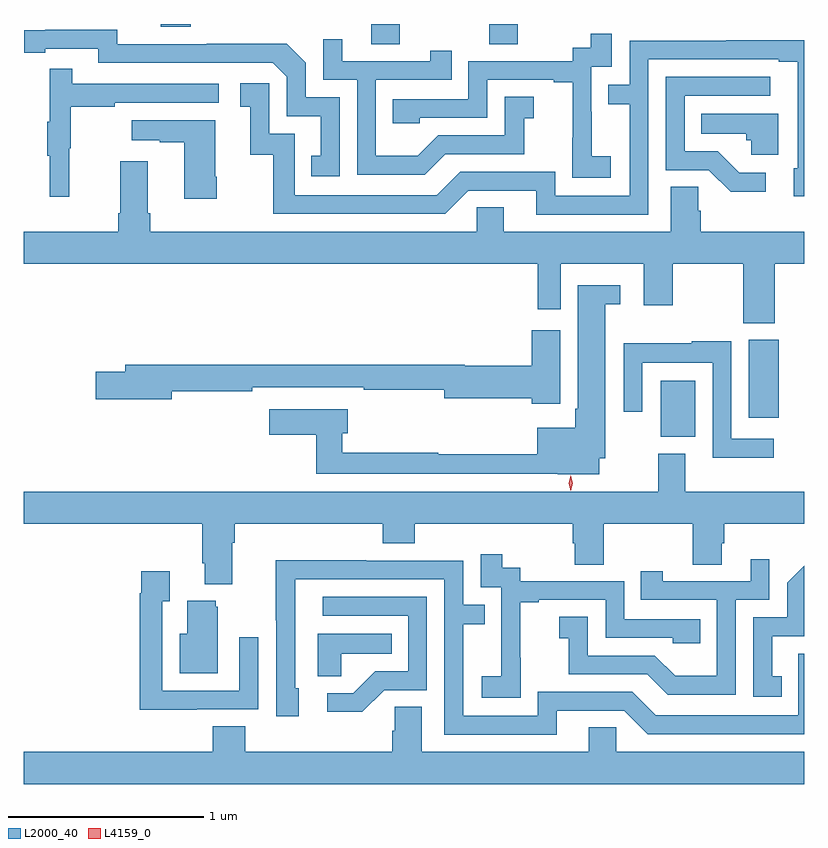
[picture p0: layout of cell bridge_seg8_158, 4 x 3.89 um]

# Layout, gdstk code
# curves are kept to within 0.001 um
import gdstk
lib = gdstk.Library(unit=1e-6, precision=1e-09)
def R(c, l, rs):  # rectangles x0, y0, x1, y1
    for r in rs: c.add(gdstk.rectangle(r[:2], r[2:], *l))
def P(c, l, *ps):  # polygons
    for p in ps: c.add(gdstk.Polygon(p, *l))
L2000_40 = (2000, 40)
L4159_0 = (4159, 0)

bridge_seg8_158 = lib.new_cell('bridge_seg8_158')
R(bridge_seg8_158, L2000_40, [(555.842,1130.267,556.018,1130.554), (556.292,1130.364,556.445,1130.763), (554.357,1132.276,554.505,1132.381), (554.962,1132.276,555.109,1132.381), (553.28,1132.367,553.433,1132.381)])
P(bridge_seg8_158, L2000_40, [(554.196,1132.005),(554.022,1132.005),(554.022,1132.182),(553.924,1132.28),(553.516,1132.28),(553.516,1132.278),(553.056,1132.278),(553.056,1132.351),(552.58,1132.35),(552.58,1132.234),(552.688,1132.234),(552.688,1132.254),(552.96,1132.254),(552.96,1132.182),(553.854,1132.182),(553.926,1132.11),(553.926,1131.909),(554.099,1131.909),(554.099,1131.705),(554.05,1131.705),(554.05,1131.6),(554.196,1131.6)],
  [(555.586,1131.703),(555.488,1131.703),(555.488,1131.932),(555.486,1131.932),(555.486,1132.161),(555.591,1132.161),(555.591,1132.33),(555.483,1132.33),(555.483,1132.26),(555.39,1132.26),(555.39,1132.191),(554.856,1132.191),(554.856,1131.996),(554.467,1131.996),(554.467,1131.873),(554.607,1131.873),(554.607,1131.9),(554.952,1131.9),(554.952,1132.095),(555.293,1132.095),(555.293,1132.083),(555.389,1132.083),(555.389,1131.799),(555.388,1131.799),(555.388,1131.593),(555.586,1131.593)],
  [(554.737,1131.714),(555.141,1131.714),(555.141,1131.899),(555.19,1131.899),(555.19,1132.009),(555.042,1132.009),(555.042,1131.81),(554.7,1131.81),(554.596,1131.706),(554.382,1131.706),(554.382,1132.095),(554.771,1132.095),(554.771,1132.243),(554.66,1132.243),(554.66,1132.191),(554.209,1132.191),(554.209,1132.303),(554.112,1132.303),(554.112,1132.095),(554.286,1132.095),(554.286,1131.609),(554.632,1131.609)],
  [(555.777,1132.2),(556.445,1132.2),(556.445,1132.188),(556.542,1132.188),(556.542,1131.642),(556.523,1131.642),(556.523,1131.498),(556.577,1131.498),(556.577,1132.298),(556.177,1132.298),(556.177,1132.296),(555.681,1132.296),(555.681,1132.071),(555.571,1132.071),(555.571,1131.97),(555.681,1131.97),(555.681,1131.501),(555.3,1131.501),(555.3,1131.624),(554.814,1131.624),(554.694,1131.504),(553.965,1131.504),(553.965,1131.819),(553.836,1131.819),(553.836,1132.078),(553.686,1132.078),(553.686,1131.957),(553.739,1131.957),(553.739,1131.711),(553.857,1131.711),(553.857,1131.408),(554.736,1131.408),(554.856,1131.528),(555.203,1131.528),(555.203,1131.405),(555.777,1131.405)],
  [(552.812,1131.744),(552.82,1131.744),(552.82,1131.958),(553.043,1131.958),(553.043,1131.978),(553.576,1131.978),(553.576,1132.074),(552.827,1132.074),(552.827,1132.153),(552.71,1132.153),(552.71,1131.881),(552.699,1131.881),(552.699,1131.707),(552.71,1131.707),(552.71,1131.495),(552.812,1131.495)],
  [(556.378,1131.618),(556.243,1131.618),(556.132,1131.729),(555.963,1131.729),(555.963,1132.014),(556.402,1132.014),(556.402,1132.11),(555.867,1132.11),(555.867,1131.633),(556.086,1131.633),(556.199,1131.521),(556.378,1131.521)],
  [(556.444,1131.922),(556.048,1131.922),(556.048,1131.818),(556.279,1131.818),(556.279,1131.786),(556.305,1131.786),(556.305,1131.71),(556.444,1131.71)],
  [(553.566,1131.598),(553.558,1131.598),(553.558,1131.889),(553.131,1131.889),(553.131,1131.785),(553.274,1131.785),(553.274,1131.775),(553.4,1131.775),(553.4,1131.486),(553.566,1131.486)],
  [(556.424,1131.152),(556.577,1131.152),(556.577,1131.316),(556.046,1131.316),(556.046,1131.425),(556.032,1131.425),(556.032,1131.548),(555.893,1131.548),(555.893,1131.316),(555.037,1131.316),(555.037,1131.443),(554.898,1131.443),(554.898,1131.316),(553.226,1131.316),(553.226,1131.412),(553.213,1131.412),(553.213,1131.679),(553.073,1131.679),(553.073,1131.412),(553.061,1131.412),(553.061,1131.316),(552.577,1131.316),(552.577,1131.152),(555.21,1131.152),(555.21,1130.919),(555.328,1130.919),(555.328,1131.152),(555.755,1131.152),(555.755,1130.94),(555.903,1130.94),(555.903,1131.152),(556.264,1131.152),(556.264,1130.848),(556.424,1130.848)],
  [(555.526,1130.156),(555.556,1130.156),(555.556,1130.945),(555.634,1130.945),(555.634,1131.042),(555.416,1131.042),(555.416,1130.41),(555.404,1130.41),(555.404,1130.314),(555.209,1130.314),(555.209,1130.177),(554.702,1130.177),(554.702,1130.185),(554.209,1130.185),(554.209,1130.285),(554.237,1130.285),(554.237,1130.407),(553.836,1130.407),(553.836,1130.278),(554.077,1130.278),(554.077,1130.076),(555.313,1130.076),(555.313,1130.075),(555.526,1130.075)],
  [(555.325,1130.812),(555.179,1130.812),(555.179,1130.63),(554.836,1130.63),(554.836,1130.636),(553.097,1130.636),(553.097,1130.6),(552.948,1130.6),(552.948,1130.458),(553.336,1130.458),(553.336,1130.5),(553.748,1130.5),(553.748,1130.52),(554.32,1130.52),(554.32,1130.508),(554.732,1130.508),(554.732,1130.465),(555.179,1130.465),(555.179,1130.435),(555.325,1130.435)],
  [(556.42,1130.256),(556.203,1130.256),(556.203,1130.756),(556,1130.756),(556,1130.746),(555.651,1130.746),(555.651,1130.394),(555.747,1130.394),(555.747,1130.645),(556.107,1130.645),(556.107,1130.159),(556.42,1130.159)],
  [(552.577,1129.82),(553.493,1129.82),(553.493,1129.618),(553.505,1129.618),(553.505,1129.511),(553.645,1129.511),(553.645,1129.724),(553.658,1129.724),(553.658,1129.82),(554.417,1129.82),(554.417,1129.721),(554.582,1129.721),(554.582,1129.82),(555.389,1129.82),(555.389,1129.722),(555.401,1129.722),(555.401,1129.612),(555.549,1129.612),(555.549,1129.82),(556.006,1129.82),(556.006,1129.612),(556.153,1129.612),(556.153,1129.722),(556.166,1129.722),(556.166,1129.82),(556.577,1129.82),(556.577,1129.984),(555.967,1129.984),(555.967,1130.179),(555.827,1130.179),(555.827,1129.984),(552.577,1129.984)],
  [(555.123,1129.135),(555.122,1129.135),(555.122,1129.419),(555.217,1129.419),(555.217,1129.431),(555.558,1129.431),(555.558,1129.236),(555.903,1129.236),(555.903,1129.209),(556.043,1129.209),(556.043,1129.332),(555.654,1129.332),(555.654,1129.527),(555.12,1129.527),(555.12,1129.596),(555.028,1129.596),(555.028,1129.666),(554.919,1129.666),(554.919,1129.497),(555.024,1129.497),(555.024,1129.268),(555.023,1129.268),(555.023,1129.039),(554.925,1129.039),(554.925,1128.929),(555.123,1128.929)],
  [(556.224,1129.431),(556.398,1129.431),(556.398,1129.639),(556.301,1129.639),(556.301,1129.527),(555.85,1129.527),(555.85,1129.579),(555.739,1129.579),(555.739,1129.431),(556.128,1129.431),(556.128,1129.042),(555.914,1129.042),(555.81,1129.146),(555.468,1129.146),(555.468,1129.345),(555.321,1129.345),(555.321,1129.235),(555.37,1129.235),(555.37,1129.05),(555.773,1129.05),(555.878,1128.945),(556.224,1128.945)],
  [(555.307,1128.864),(555.654,1128.864),(555.774,1128.744),(556.577,1128.744),(556.577,1129.155),(556.545,1129.155),(556.545,1128.84),(555.816,1128.84),(555.696,1128.96),(555.21,1128.96),(555.21,1128.837),(554.829,1128.837),(554.829,1129.306),(554.939,1129.306),(554.939,1129.407),(554.829,1129.407),(554.829,1129.632),(554.333,1129.632),(554.333,1129.634),(553.87,1129.634),(553.87,1129.327),(553.872,1129.327),(553.872,1128.834),(553.987,1128.834),(553.987,1128.978),(553.968,1128.978),(553.968,1129.536),(554.733,1129.536),(554.733,1128.741),(555.307,1128.741)],
  [(556.46,1129.041),(556.411,1129.041),(556.411,1129.245),(556.577,1129.245),(556.577,1129.607),(556.488,1129.518),(556.488,1129.341),(556.314,1129.341),(556.314,1128.936),(556.46,1128.936)],
  [(553.463,1128.87),(553.779,1128.87),(553.779,1129.24),(553.683,1129.24),(553.683,1128.966),(553.287,1128.966),(553.287,1129.423),(553.327,1129.423),(553.327,1129.579),(553.179,1129.579),(553.179,1129.466),(553.171,1129.466),(553.171,1128.869),(553.463,1128.869)],
  [(554.424,1128.969),(554.643,1128.969),(554.643,1129.446),(554.109,1129.446),(554.109,1129.35),(554.547,1129.35),(554.547,1129.065),(554.378,1129.065),(554.267,1128.954),(554.133,1128.954),(554.133,1128.857),(554.311,1128.857)],
  [(553.573,1129.395),(553.562,1129.395),(553.562,1129.426),(553.415,1129.426),(553.415,1129.258),(553.376,1129.258),(553.376,1129.055),(553.573,1129.055)],
  [(554.205,1129.154),(554.462,1129.154),(554.462,1129.258),(554.084,1129.258),(554.084,1129.039),(554.205,1129.039)],
  [(556.577,1128.652),(555.612,1128.652),(555.612,1128.779),(555.473,1128.779),(555.473,1128.652),(554.617,1128.652),(554.617,1128.884),(554.478,1128.884),(554.478,1128.761),(554.465,1128.761),(554.465,1128.652),(553.712,1128.652),(553.712,1128.785),(553.547,1128.785),(553.547,1128.652),(552.577,1128.652),(552.577,1128.488),(556.577,1128.488)])
P(bridge_seg8_158, L4159_0, [(555.38,1129.99),(555.38,1129.99),(555.37,1130.029),(555.379,1130.068),(555.38,1130.069),(555.38,1130.068),(555.39,1130.029),(555.38,1129.99)])

lib.write_gds('bridge_seg8_158.gds')
